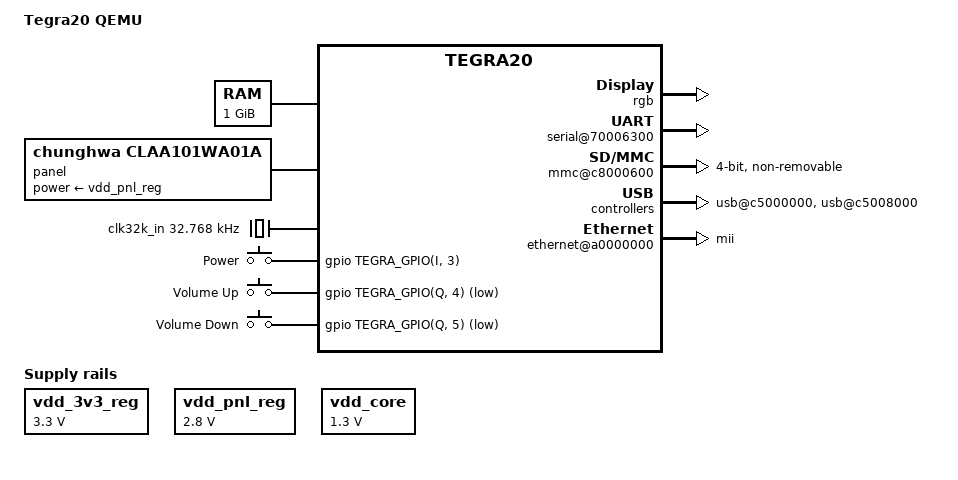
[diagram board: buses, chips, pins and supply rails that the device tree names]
/dts-v1/;

// /memreserve/ 0x2E600000 0x11A00000; /* for Tegra2VDE-reTool */

#include <dt-bindings/input/gpio-keys.h>
#include <dt-bindings/input/input.h>
#include "tegra20.dtsi"

/ {
	model = "Tegra20 QEMU";
	compatible = "grate,qemu", "nvidia,tegra20";

	memory@0 {
		reg = <0x00000000 0x40000000>;
	};

	chosen {
		stdout-path = "serial0:115200n8";
	};

	aliases {
		rtc0 = "/rtc@7000e000";
		serial0 = &uartd;
	};

	host1x@50000000 {
		dc@54200000 {
			rgb {
				status = "okay";

				nvidia,panel = <&panel>;
			};
		};
	};

	pmc@7000e400 {
		nvidia,invert-interrupt;
		nvidia,suspend-mode = <1>;
		nvidia,cpu-pwr-good-time = <2000>;
		nvidia,cpu-pwr-off-time = <100>;
		nvidia,core-pwr-good-time = <3845 3845>;
		nvidia,core-pwr-off-time = <458>;
		nvidia,sys-clock-req-active-high;
		core-supply = <&vdd_core>;
	};

	serial@70006300 {
		status = "okay";
	};

	panel: panel {
		compatible = "chunghwa,claa101wa01a";

		power-supply = <&vdd_pnl_reg>;
	};

	clk32k_in: clock-32k {
		compatible = "fixed-clock";
		#clock-cells = <0>;
		clock-frequency = <32768>;
	};

	mmc@c8000600 {
		status = "okay";
		bus-width = <4>;
		non-removable;
	};

	usb@c5000000 {
		status = "okay";
	};

	usb-phy@c5000000 {
		status = "okay";
	};

	usb@c5008000 {
		status = "okay";
	};

	usb-phy@c5008000 {
		status = "okay";
	};

	vdd_3v3_reg: regulator-0 {
		compatible = "regulator-fixed";
		regulator-name = "vdd_3v3";
		regulator-min-microvolt = <3300000>;
		regulator-max-microvolt = <3300000>;
		regulator-always-on;
	};

	vdd_pnl_reg: regulator-1 {
		compatible = "regulator-fixed";
		regulator-name = "vdd_pnl";
		regulator-min-microvolt = <2800000>;
		regulator-max-microvolt = <2800000>;
	};

	vdd_core: regulator-2 {
		compatible = "regulator-fixed";
		regulator-name = "vdd_core";
		regulator-min-microvolt = <1300000>;
		regulator-max-microvolt = <1300000>;
		regulator-always-on;
	};

	ethernet@a0000000 {
		compatible = "smsc,lan9118", "smsc,lan9115";
		reg = <0xa0000000 0x10000>;
		interrupts = <GIC_SPI 95 IRQ_TYPE_LEVEL_HIGH>;
		phy-mode = "mii";
		reg-io-width = <4>;
		smsc,irq-active-high;
		smsc,irq-push-pull;
		vdd33a-supply = <&vdd_3v3_reg>;
		vddvario-supply = <&vdd_3v3_reg>;
	};

	gpio-buttons {
		compatible = "gpio-keys";
		interrupt-parent = <&gpio>;

		power {
			label = "Power";
			gpios = <&gpio TEGRA_GPIO(I, 3) GPIO_ACTIVE_HIGH>;
			linux,code = <KEY_POWER>;
			debounce-interval = <10>;
			wakeup-event-action = <EV_ACT_ASSERTED>;
			wakeup-source;
		};

		volume-up {
			label = "Volume Up";
			gpios = <&gpio TEGRA_GPIO(Q, 4) GPIO_ACTIVE_LOW>;
			linux,code = <KEY_VOLUMEUP>;
			debounce-interval = <10>;
			wakeup-event-action = <EV_ACT_ASSERTED>;
			wakeup-source;
		};

		volume-down {
			label = "Volume Down";
			gpios = <&gpio TEGRA_GPIO(Q, 5) GPIO_ACTIVE_LOW>;
			linux,code = <KEY_VOLUMEDOWN>;
			debounce-interval = <10>;
			wakeup-event-action = <EV_ACT_ASSERTED>;
			wakeup-source;
		};
	};
};
